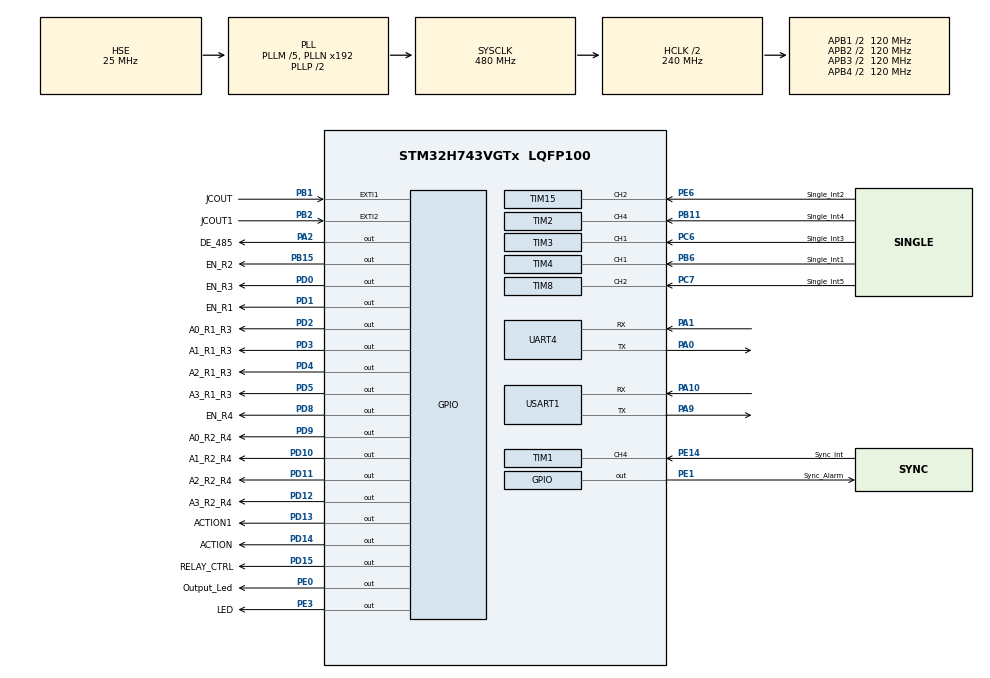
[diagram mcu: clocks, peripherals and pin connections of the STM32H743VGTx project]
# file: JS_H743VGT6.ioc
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CORTEX_M7.default_mode_Activation=1
FREERTOS.CountingSemaphores01=HolesCountingSem,16,Dynamic,NULL,0
FREERTOS.Events01=PositionEvent1_MPC1,Dynamic,NULL;PositionEvent2_MPC1,Dynamic,NULL;PositionEvent3_MPC1,Dynamic,NULL;PositionEvent4_MPC1,Dynamic,NULL;PositionEvent1_MPC2,Dynamic,NULL;PositionEvent2_MPC2,Dynamic,NULL;PositionEvent3_MPC2,Dynamic,NULL;PositionEvent4_MPC2,Dynamic,NULL
FREERTOS.Tasks01=SyncTask,24,128,StartSyncTask,Default,NULL,Dynamic,NULL,NULL;ICTask,25,128,StartICTask,Default,NULL,Dynamic,NULL,NULL;Rec_SwitchTask,25,128,StartRec_SwitchTask,Default,NULL,Dynamic,NULL,NULL;AlarmTask,26,128,StartAlarmTask,Default,NULL,Dynamic,NULL,NULL;Hole_ldentify,27,128,StartHole_ldentifyTask,Default,NULL,Dynamic,NULL,NULL
Mcu.Family=STM32H7
Mcu.Name=STM32H743VGTx
Mcu.Package=LQFP100
NVIC.EXTI1_IRQn=true\:5\:0\:false\:false\:true\:true\:true\:true\:true
NVIC.EXTI2_IRQn=true\:5\:0\:false\:false\:true\:true\:true\:true\:true
NVIC.PriorityGroup=NVIC_PRIORITYGROUP_4
NVIC.TIM15_IRQn=true\:5\:0\:false\:false\:true\:true\:true\:true\:true
NVIC.TIM17_IRQn=true\:15\:0\:false\:false\:true\:false\:false\:true\:true
NVIC.TIM1_CC_IRQn=true\:5\:0\:false\:false\:true\:true\:true\:true\:true
NVIC.TIM1_UP_IRQn=true\:5\:0\:false\:false\:true\:true\:true\:true\:true
NVIC.TIM2_IRQn=true\:5\:0\:false\:false\:true\:true\:true\:true\:true
NVIC.TIM3_IRQn=true\:5\:0\:false\:false\:true\:true\:true\:true\:true
NVIC.TIM4_IRQn=true\:5\:0\:false\:false\:true\:true\:true\:true\:true
NVIC.TIM6_DAC_IRQn=true\:5\:0\:false\:false\:true\:true\:true\:true\:true
NVIC.TIM7_IRQn=true\:5\:0\:false\:false\:true\:true\:true\:true\:true
NVIC.TIM8_CC_IRQn=true\:5\:0\:false\:false\:true\:true\:true\:true\:true
NVIC.TIM8_UP_TIM13_IRQn=true\:5\:0\:false\:false\:true\:true\:true\:true\:true
NVIC.TimeBase=TIM17_IRQn
NVIC.TimeBaseIP=TIM17
NVIC.UART4_IRQn=true\:5\:0\:false\:false\:true\:true\:true\:true\:true
NVIC.USART1_IRQn=true\:5\:0\:false\:false\:true\:true\:true\:true\:true
PA0.Mode=Asynchronous
PA0.Signal=UART4_TX
PA1.Mode=Asynchronous
PA1.Signal=UART4_RX
PA10.Mode=Asynchronous
PA10.Signal=USART1_RX
PA13\ (JTMS/SWDIO).Mode=Serial_Wire
PA13\ (JTMS/SWDIO).Signal=DEBUG_JTMS-SWDIO
PA14\ (JTCK/SWCLK).Mode=Serial_Wire
PA14\ (JTCK/SWCLK).Signal=DEBUG_JTCK-SWCLK
PA2.GPIO_Label=DE_485
PA2.GPIO_Speed=GPIO_SPEED_FREQ_HIGH
PA2.Signal=GPIO_Output
PA9.Mode=Asynchronous
PA9.Signal=USART1_TX
PB1.GPIO_Label=JCOUT
PB1.Signal=GPXTI1
PB11.GPIO_Label=Single_Int4
PB11.GPIO_Speed=GPIO_SPEED_FREQ_HIGH
PB11.Signal=S_TIM2_CH4
PB15.GPIO_Label=EN_R2
PB15.GPIO_ModeDefaultOutputPP=GPIO_MODE_OUTPUT_OD
PB15.GPIO_PuPd=GPIO_NOPULL
PB15.GPIO_Speed=GPIO_SPEED_FREQ_HIGH
PB15.Signal=GPIO_Output
PB2.GPIO_Label=JCOUT1
PB2.Signal=GPXTI2
PB6.GPIO_Label=Single_Int1
PB6.GPIO_Speed=GPIO_SPEED_FREQ_HIGH
PB6.Signal=S_TIM4_CH1
PC6.GPIO_Label=Single_Int3
PC6.GPIO_Speed=GPIO_SPEED_FREQ_HIGH
PC6.Signal=S_TIM3_CH1
PC7.GPIO_Label=Single_Int5
PC7.GPIO_Speed=GPIO_SPEED_FREQ_HIGH
PC7.Signal=S_TIM8_CH2
PD0.GPIO_Label=EN_R3
PD0.GPIO_ModeDefaultOutputPP=GPIO_MODE_OUTPUT_OD
PD0.GPIO_PuPd=GPIO_NOPULL
PD0.GPIO_Speed=GPIO_SPEED_FREQ_HIGH
PD0.Signal=GPIO_Output
PD1.GPIO_Label=EN_R1
PD1.GPIO_ModeDefaultOutputPP=GPIO_MODE_OUTPUT_OD
PD1.GPIO_PuPd=GPIO_NOPULL
PD1.GPIO_Speed=GPIO_SPEED_FREQ_HIGH
PD1.PinState=GPIO_PIN_SET
PD1.Signal=GPIO_Output
PD10.GPIO_Label=A1_R2_R4
PD10.GPIO_ModeDefaultOutputPP=GPIO_MODE_OUTPUT_OD
PD10.GPIO_PuPd=GPIO_NOPULL
PD10.GPIO_Speed=GPIO_SPEED_FREQ_HIGH
PD10.PinState=GPIO_PIN_SET
PD10.Signal=GPIO_Output
PD11.GPIO_Label=A2_R2_R4
PD11.GPIO_ModeDefaultOutputPP=GPIO_MODE_OUTPUT_OD
PD11.GPIO_PuPd=GPIO_NOPULL
PD11.GPIO_Speed=GPIO_SPEED_FREQ_HIGH
PD11.PinState=GPIO_PIN_SET
PD11.Signal=GPIO_Output
PD12.GPIO_Label=A3_R2_R4
PD12.GPIO_ModeDefaultOutputPP=GPIO_MODE_OUTPUT_OD
PD12.GPIO_PuPd=GPIO_NOPULL
PD12.GPIO_Speed=GPIO_SPEED_FREQ_HIGH
PD12.PinState=GPIO_PIN_SET
PD12.Signal=GPIO_Output
PD13.GPIO_Label=ACTION1
PD13.GPIO_ModeDefaultOutputPP=GPIO_MODE_OUTPUT_OD
PD13.GPIO_PuPd=GPIO_NOPULL
PD13.GPIO_Speed=GPIO_SPEED_FREQ_HIGH
PD13.PinState=GPIO_PIN_SET
PD13.Signal=GPIO_Output
PD14.GPIO_Label=ACTION
PD14.GPIO_ModeDefaultOutputPP=GPIO_MODE_OUTPUT_OD
PD14.GPIO_PuPd=GPIO_NOPULL
PD14.GPIO_Speed=GPIO_SPEED_FREQ_HIGH
PD14.PinState=GPIO_PIN_SET
PD14.Signal=GPIO_Output
PD15.GPIO_Label=RELAY_CTRL
PD15.GPIO_ModeDefaultOutputPP=GPIO_MODE_OUTPUT_OD
PD15.GPIO_PuPd=GPIO_NOPULL
PD15.GPIO_Speed=GPIO_SPEED_FREQ_HIGH
PD15.PinState=GPIO_PIN_SET
PD15.Signal=GPIO_Output
PD2.GPIO_Label=A0_R1_R3
PD2.GPIO_ModeDefaultOutputPP=GPIO_MODE_OUTPUT_OD
PD2.GPIO_PuPd=GPIO_NOPULL
PD2.GPIO_Speed=GPIO_SPEED_FREQ_HIGH
PD2.PinState=GPIO_PIN_SET
PD2.Signal=GPIO_Output
PD3.GPIO_Label=A1_R1_R3
PD3.GPIO_ModeDefaultOutputPP=GPIO_MODE_OUTPUT_OD
PD3.GPIO_PuPd=GPIO_NOPULL
PD3.GPIO_Speed=GPIO_SPEED_FREQ_HIGH
PD3.PinState=GPIO_PIN_SET
PD3.Signal=GPIO_Output
PD4.GPIO_Label=A2_R1_R3
PD4.GPIO_ModeDefaultOutputPP=GPIO_MODE_OUTPUT_OD
PD4.GPIO_PuPd=GPIO_NOPULL
PD4.GPIO_Speed=GPIO_SPEED_FREQ_HIGH
PD4.PinState=GPIO_PIN_SET
PD4.Signal=GPIO_Output
PD5.GPIO_Label=A3_R1_R3
PD5.GPIO_ModeDefaultOutputPP=GPIO_MODE_OUTPUT_OD
PD5.GPIO_PuPd=GPIO_NOPULL
PD5.GPIO_Speed=GPIO_SPEED_FREQ_HIGH
PD5.PinState=GPIO_PIN_SET
PD5.Signal=GPIO_Output
PD8.GPIO_Label=EN_R4
PD8.GPIO_ModeDefaultOutputPP=GPIO_MODE_OUTPUT_OD
PD8.GPIO_PuPd=GPIO_NOPULL
PD8.GPIO_Speed=GPIO_SPEED_FREQ_HIGH
PD8.PinState=GPIO_PIN_SET
PD8.Signal=GPIO_Output
PD9.GPIO_Label=A0_R2_R4
PD9.GPIO_ModeDefaultOutputPP=GPIO_MODE_OUTPUT_OD
PD9.GPIO_PuPd=GPIO_NOPULL
PD9.GPIO_Speed=GPIO_SPEED_FREQ_HIGH
PD9.PinState=GPIO_PIN_SET
PD9.Signal=GPIO_Output
PE0.GPIO_Label=Output_Led
PE0.GPIO_ModeDefaultOutputPP=GPIO_MODE_OUTPUT_OD
PE0.GPIO_PuPd=GPIO_NOPULL
PE0.GPIO_Speed=GPIO_SPEED_FREQ_HIGH
PE0.PinState=GPIO_PIN_SET
PE0.Signal=GPIO_Output
PE1.GPIO_Label=Sync_Alarm
PE1.GPIO_ModeDefaultOutputPP=GPIO_MODE_OUTPUT_OD
PE1.GPIO_PuPd=GPIO_NOPULL
PE1.GPIO_Speed=GPIO_SPEED_FREQ_HIGH
PE1.PinState=GPIO_PIN_SET
PE1.Signal=GPIO_Output
PE14.GPIO_Label=Sync_Int
PE14.GPIO_Speed=GPIO_SPEED_FREQ_HIGH
PE14.Signal=S_TIM1_CH4
PE3.GPIO_Label=LED
PE3.GPIO_Speed=GPIO_SPEED_FREQ_HIGH
PE3.PinState=GPIO_PIN_SET
PE3.Signal=GPIO_Output
PE6.GPIO_Label=Single_Int2
PE6.GPIO_Speed=GPIO_SPEED_FREQ_HIGH
PE6.Signal=S_TIM15_CH2
PH0-OSC_IN\ (PH0).Mode=HSE-External-Oscillator
PH0-OSC_IN\ (PH0).Signal=RCC_OSC_IN
PH1-OSC_OUT\ (PH1).Mode=HSE-External-Oscillator
PH1-OSC_OUT\ (PH1).Signal=RCC_OSC_OUT
ProjectManager.HeapSize=0x200
ProjectManager.StackSize=0x400
ProjectManager.TargetToolchain=MDK-ARM V5.32
RCC.ADCFreq_Value=50390625
RCC.APB1Freq_Value=120000000
RCC.APB2Freq_Value=120000000
RCC.APB3Freq_Value=120000000
RCC.APB4Freq_Value=120000000
RCC.CortexFreq_Value=480000000
RCC.D1PPRE=RCC_APB3_DIV2
RCC.D2PPRE1=RCC_APB1_DIV2
RCC.D2PPRE2=RCC_APB2_DIV2
RCC.D3PPRE=RCC_APB4_DIV2
RCC.DIVM1=5
RCC.DIVN1=192
RCC.HCLKFreq_Value=240000000
RCC.HPRE=RCC_HCLK_DIV2
RCC.PLL2FRACN=0
RCC.PLL3FRACN=0
RCC.PLLFRACN=0
RCC.PLLSourceVirtual=RCC_PLLSOURCE_HSE
RCC.SYSCLKFreq_VALUE=480000000
RCC.SYSCLKSource=RCC_SYSCLKSOURCE_PLLCLK
RCC.USBFreq_Value=480000000
SH.S_TIM15_CH2.0=TIM15_CH2,Input_Capture2_from_TI2
SH.S_TIM1_CH4.0=TIM1_CH4,Input_Capture4_from_TI4
SH.S_TIM2_CH4.0=TIM2_CH4,Input_Capture4_from_TI4
SH.S_TIM3_CH1.0=TIM3_CH1,Input_Capture1_from_TI1
SH.S_TIM4_CH1.0=TIM4_CH1,Input_Capture1_from_TI1
SH.S_TIM8_CH2.0=TIM8_CH2,Input_Capture2_from_TI2
TIM1.AutoReloadPreload=TIM_AUTORELOAD_PRELOAD_ENABLE
TIM1.Channel-Input_Capture4_from_TI4=TIM_CHANNEL_4
TIM1.Period=50000-1
TIM1.Prescaler=240-1
TIM15.AutoReloadPreload=TIM_AUTORELOAD_PRELOAD_ENABLE
TIM15.Channel-Input_Capture2_from_TI2=TIM_CHANNEL_2
TIM15.ICPolarity_CH2=TIM_INPUTCHANNELPOLARITY_FALLING
TIM15.Period=50000-1
TIM15.Prescaler=240-1
TIM2.AutoReloadPreload=TIM_AUTORELOAD_PRELOAD_ENABLE
TIM2.Channel-Input_Capture4_from_TI4=TIM_CHANNEL_4
TIM2.Period=50000-1
TIM2.Prescaler=240-1
TIM3.AutoReloadPreload=TIM_AUTORELOAD_PRELOAD_ENABLE
TIM3.Channel-Input_Capture1_from_TI1=TIM_CHANNEL_1
TIM3.Period=50000-1
TIM3.Prescaler=240-1
TIM4.AutoReloadPreload=TIM_AUTORELOAD_PRELOAD_ENABLE
TIM4.Channel-Input_Capture1_from_TI1=TIM_CHANNEL_1
TIM4.Period=50000-1
TIM4.Prescaler=240-1
TIM6.AutoReloadPreload=TIM_AUTORELOAD_PRELOAD_ENABLE
TIM6.Period=10-1
TIM6.Prescaler=240-1
TIM7.AutoReloadPreload=TIM_AUTORELOAD_PRELOAD_ENABLE
TIM7.Period=500-1
TIM7.Prescaler=240-1
TIM8.AutoReloadPreload=TIM_AUTORELOAD_PRELOAD_ENABLE
TIM8.Channel-Input_Capture2_from_TI2=TIM_CHANNEL_2
TIM8.Period=50000-1
TIM8.Prescaler=240-1
USART1.VirtualMode-Asynchronous=VM_ASYNC
VP_FREERTOS_VS_CMSIS_V2.Mode=CMSIS_V2
VP_MEMORYMAP_VS_MEMORYMAP.Mode=CurAppReg
VP_SYS_VS_tim17.Mode=TIM17
VP_TIM15_VS_ClockSourceINT.Mode=Internal
VP_TIM2_VS_ClockSourceINT.Mode=Internal
VP_TIM3_VS_ClockSourceINT.Mode=Internal
VP_TIM4_VS_ClockSourceINT.Mode=Internal
VP_TIM6_VS_ClockSourceINT.Mode=Enable_Timer
VP_TIM7_VS_ClockSourceINT.Mode=Enable_Timer
VP_TIM8_VS_ClockSourceINT.Mode=Internal
board=custom

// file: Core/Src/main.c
/* USER CODE BEGIN Header */
/**
  ******************************************************************************
  * @file           : main.c
  * @brief          : Main program body
  ******************************************************************************
  * @attention
  *
  * Copyright (c) 2024 STMicroelectronics.
  * All rights reserved.
  *
  * This software is licensed under terms that can be found in the LICENSE file
  * in the root directory of this software component.
  * If no LICENSE file comes with this software, it is provided AS-IS.
  *
  ******************************************************************************
  */
/* USER CODE END Header */
#include "main.h"
#include "cmsis_os.h"
#include "memorymap.h"
#include "tim.h"
#include "usart.h"
#include "gpio.h"

void SystemClock_Config(void);
static void MPU_Config(void);
void MX_FREERTOS_Init(void);

int main(void)
{

  /* MPU Configuration--------------------------------------------------------*/
  MPU_Config();

  /* MCU Configuration--------------------------------------------------------*/

  /* Reset of all peripherals, Initializes the Flash interface and the Systick. */
  HAL_Init();

  /* Configure the system clock */
  SystemClock_Config();

  /* Initialize all configured peripherals */
  MX_GPIO_Init();
  MX_TIM2_Init();
  MX_TIM3_Init();
  MX_TIM4_Init();
  MX_TIM8_Init();
  MX_TIM15_Init();
  MX_TIM1_Init();
  MX_UART4_Init();
  MX_TIM6_Init();
  MX_USART1_UART_Init();
  MX_TIM7_Init();

  /* Init scheduler */
  osKernelInitialize();

  /* Call init function for freertos objects (in cmsis_os2.c) */
  MX_FREERTOS_Init();

  /* Start scheduler */
  osKernelStart();

  /* We should never get here as control is now taken by the scheduler */

  /* Infinite loop */
  while (1)
  {

  }
}

void SystemClock_Config(void)
{
  RCC_OscInitTypeDef RCC_OscInitStruct = {0};
  RCC_ClkInitTypeDef RCC_ClkInitStruct = {0};

  /** Supply configuration update enable
  */
  HAL_PWREx_ConfigSupply(PWR_LDO_SUPPLY);

  /** Configure the main internal regulator output voltage
  */
  __HAL_PWR_VOLTAGESCALING_CONFIG(PWR_REGULATOR_VOLTAGE_SCALE1);

  while(!__HAL_PWR_GET_FLAG(PWR_FLAG_VOSRDY)) {}

  __HAL_RCC_SYSCFG_CLK_ENABLE();
  __HAL_PWR_VOLTAGESCALING_CONFIG(PWR_REGULATOR_VOLTAGE_SCALE0);

  while(!__HAL_PWR_GET_FLAG(PWR_FLAG_VOSRDY)) {}

  /** Initializes the RCC Oscillators according to the specified parameters
  * in the RCC_OscInitTypeDef structure.
  */
  RCC_OscInitStruct.OscillatorType = RCC_OSCILLATORTYPE_HSE;
  RCC_OscInitStruct.HSEState = RCC_HSE_ON;
  RCC_OscInitStruct.PLL.PLLState = RCC_PLL_ON;
  RCC_OscInitStruct.PLL.PLLSource = RCC_PLLSOURCE_HSE;
  RCC_OscInitStruct.PLL.PLLM = 5;
  RCC_OscInitStruct.PLL.PLLN = 192;
  RCC_OscInitStruct.PLL.PLLP = 2;
  RCC_OscInitStruct.PLL.PLLQ = 2;
  RCC_OscInitStruct.PLL.PLLR = 2;
  RCC_OscInitStruct.PLL.PLLRGE = RCC_PLL1VCIRANGE_2;
  RCC_OscInitStruct.PLL.PLLVCOSEL = RCC_PLL1VCOWIDE;
  RCC_OscInitStruct.PLL.PLLFRACN = 0;
  if (HAL_RCC_OscConfig(&RCC_OscInitStruct) != HAL_OK)
  {
    Error_Handler();
  }

  /** Initializes the CPU, AHB and APB buses clocks
  */
  RCC_ClkInitStruct.ClockType = RCC_CLOCKTYPE_HCLK|RCC_CLOCKTYPE_SYSCLK
                              |RCC_CLOCKTYPE_PCLK1|RCC_CLOCKTYPE_PCLK2
                              |RCC_CLOCKTYPE_D3PCLK1|RCC_CLOCKTYPE_D1PCLK1;
  RCC_ClkInitStruct.SYSCLKSource = RCC_SYSCLKSOURCE_PLLCLK;
  RCC_ClkInitStruct.SYSCLKDivider = RCC_SYSCLK_DIV1;
  RCC_ClkInitStruct.AHBCLKDivider = RCC_HCLK_DIV2;
  RCC_ClkInitStruct.APB3CLKDivider = RCC_APB3_DIV2;
  RCC_ClkInitStruct.APB1CLKDivider = RCC_APB1_DIV2;
  RCC_ClkInitStruct.APB2CLKDivider = RCC_APB2_DIV2;
  RCC_ClkInitStruct.APB4CLKDivider = RCC_APB4_DIV2;

  if (HAL_RCC_ClockConfig(&RCC_ClkInitStruct, FLASH_LATENCY_4) != HAL_OK)
  {
    Error_Handler();
  }
}

 /* MPU Configuration */

void MPU_Config(void)
{
  MPU_Region_InitTypeDef MPU_InitStruct = {0};

  /* Disables the MPU */
  HAL_MPU_Disable();

  /** Initializes and configures the Region and the memory to be protected
  */
  MPU_InitStruct.Enable = MPU_REGION_ENABLE;
  MPU_InitStruct.Number = MPU_REGION_NUMBER0;
  MPU_InitStruct.BaseAddress = 0x0;
  MPU_InitStruct.Size = MPU_REGION_SIZE_4GB;
  MPU_InitStruct.SubRegionDisable = 0x87;
  MPU_InitStruct.TypeExtField = MPU_TEX_LEVEL0;
  MPU_InitStruct.AccessPermission = MPU_REGION_NO_ACCESS;
  MPU_InitStruct.DisableExec = MPU_INSTRUCTION_ACCESS_DISABLE;
  MPU_InitStruct.IsShareable = MPU_ACCESS_SHAREABLE;
  MPU_InitStruct.IsCacheable = MPU_ACCESS_NOT_CACHEABLE;
  MPU_InitStruct.IsBufferable = MPU_ACCESS_NOT_BUFFERABLE;

  HAL_MPU_ConfigRegion(&MPU_InitStruct);
  /* Enables the MPU */
  HAL_MPU_Enable(MPU_PRIVILEGED_DEFAULT);

}

// void HAL_TIM_PeriodElapsedCallback(TIM_HandleTypeDef *htim)
// {
//   /* USER CODE BEGIN Callback 0 */

//   /* USER CODE END Callback 0 */
//   if (htim->Instance == TIM17) {
//     HAL_IncTick();
//   }
//   /* USER CODE BEGIN Callback 1 */

//   /* USER CODE END Callback 1 */
// }

void Error_Handler(void)
{
  __disable_irq();
  while (1)
  {
  }
}

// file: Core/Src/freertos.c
/* USER CODE BEGIN Header */
/**
 ******************************************************************************
 * File Name          : freertos.c
 * Description        : Code for freertos applications
 ******************************************************************************
 * @attention
 *
 * Copyright (c) 2024 STMicroelectronics.
 * All rights reserved.
 *
 * This software is licensed under terms that can be found in the LICENSE file
 * in the root directory of this software component.
 * If no LICENSE file comes with this software, it is provided AS-IS.
 *
 ******************************************************************************
 */
/* USER CODE END Header */

#include "FreeRTOS.h"
#include "task.h"
#include "main.h"
#include "cmsis_os.h"

/* USER CODE BEGIN Includes */
#include "tim.h"
#include "gpio.h"
#include "limits.h"
#include "usart.h"
#include "stdio.h"
#include "semphr.h"
#include "portmacro.h"
#include "event_groups.h"

extern uint32_t Sync_capture_Buf[2]; // 存放计数值
extern uint8_t Sync_Cnt;             // 状态标志位
extern uint32_t Sync_high_time;      // 高电平时间

uint16_t semavalue = 0;

uint8_t Isfirstcirculation = 1;

int32_t position_old[4] = {0};
int32_t position_xor[4] = {0};

uint8_t position_num=0;
/* USER CODE END Includes */

/* Definitions for SyncTask */
osThreadId_t SyncTaskHandle;
const osThreadAttr_t SyncTask_attributes = {
  .name = "SyncTask",
  .stack_size = 128 * 4,
  .priority = (osPriority_t) osPriorityNormal,
};
/* Definitions for ICTask */
osThreadId_t ICTaskHandle;
const osThreadAttr_t ICTask_attributes = {
  .name = "ICTask",
  .stack_size = 128 * 4,
  .priority = (osPriority_t) osPriorityNormal1,
};
/* Definitions for Rec_SwitchTask */
osThreadId_t Rec_SwitchTaskHandle;
const osThreadAttr_t Rec_SwitchTask_attributes = {
  .name = "Rec_SwitchTask",
  .stack_size = 128 * 4,
  .priority = (osPriority_t) osPriorityNormal1,
};
/* Definitions for AlarmTask */
osThreadId_t AlarmTaskHandle;
const osThreadAttr_t AlarmTask_attributes = {
  .name = "AlarmTask",
  .stack_size = 128 * 4,
  .priority = (osPriority_t) osPriorityNormal2,
};
/* Definitions for Hole_ldentify */
osThreadId_t Hole_ldentifyHandle;
const osThreadAttr_t Hole_ldentify_attributes = {
  .name = "Hole_ldentify",
  .stack_size = 128 * 4,
  .priority = (osPriority_t) osPriorityNormal3,
};
/* Definitions for HolesCountingSem */
osSemaphoreId_t HolesCountingSemHandle;
const osSemaphoreAttr_t HolesCountingSem_attributes = {
  .name = "HolesCountingSem"
};
/* Definitions for PositionEvent1_MPC1 */
osEventFlagsId_t PositionEvent1_MPC1Handle;
const osEventFlagsAttr_t PositionEvent1_MPC1_attributes = {
  .name = "PositionEvent1_MPC1"
};
/* Definitions for PositionEvent2_MPC1 */
osEventFlagsId_t PositionEvent2_MPC1Handle;
const osEventFlagsAttr_t PositionEvent2_MPC1_attributes = {
  .name = "PositionEvent2_MPC1"
};
/* Definitions for PositionEvent3_MPC1 */
osEventFlagsId_t PositionEvent3_MPC1Handle;
const osEventFlagsAttr_t PositionEvent3_MPC1_attributes = {
  .name = "PositionEvent3_MPC1"
};
/* Definitions for PositionEvent4_MPC1 */
osEventFlagsId_t PositionEvent4_MPC1Handle;
const osEventFlagsAttr_t PositionEvent4_MPC1_attributes = {
  .name = "PositionEvent4_MPC1"
};
/* Definitions for PositionEvent1_MPC2 */
osEventFlagsId_t PositionEvent1_MPC2Handle;
const osEventFlagsAttr_t PositionEvent1_MPC2_attributes = {
  .name = "PositionEvent1_MPC2"
};
/* Definitions for PositionEvent2_MPC2 */
osEventFlagsId_t PositionEvent2_MPC2Handle;
const osEventFlagsAttr_t PositionEvent2_MPC2_attributes = {
  .name = "PositionEvent2_MPC2"
};
/* Definitions for PositionEvent3_MPC2 */
osEventFlagsId_t PositionEvent3_MPC2Handle;
const osEventFlagsAttr_t PositionEvent3_MPC2_attributes = {
  .name = "PositionEvent3_MPC2"
};
/* Definitions for PositionEvent4_MPC2 */
osEventFlagsId_t PositionEvent4_MPC2Handle;
const osEventFlagsAttr_t PositionEvent4_MPC2_attributes = {
  .name = "PositionEvent4_MPC2"
};

void StartSyncTask(void *argument);
void StartICTask(void *argument);
void StartRec_SwitchTask(void *argument);
void StartAlarmTask(void *argument);
void StartHole_ldentifyTask(void *argument);

void MX_FREERTOS_Init(void); /* (MISRA C 2004 rule 8.1) */

void MX_FREERTOS_Init(void) {

  /* Create the semaphores(s) */
  /* creation of HolesCountingSem */
  HolesCountingSemHandle = osSemaphoreNew(16, 0, &HolesCountingSem_attributes);

  /* Create the thread(s) */
  /* creation of SyncTask */
  SyncTaskHandle = osThreadNew(StartSyncTask, NULL, &SyncTask_attributes);

  /* creation of ICTask */
  ICTaskHandle = osThreadNew(StartICTask, NULL, &ICTask_attributes);

  /* creation of Rec_SwitchTask */
  Rec_SwitchTaskHandle = osThreadNew(StartRec_SwitchTask, NULL, &Rec_SwitchTask_attributes);

  /* creation of AlarmTask */
  AlarmTaskHandle = osThreadNew(StartAlarmTask, NULL, &AlarmTask_attributes);

  /* creation of Hole_ldentify */
  Hole_ldentifyHandle = osThreadNew(StartHole_ldentifyTask, NULL, &Hole_ldentify_attributes);

  /* Create the event(s) */
  /* creation of PositionEvent1_MPC1 */
  PositionEvent1_MPC1Handle = osEventFlagsNew(&PositionEvent1_MPC1_attributes);

  /* creation of PositionEvent2_MPC1 */
  PositionEvent2_MPC1Handle = osEventFlagsNew(&PositionEvent2_MPC1_attributes);

  /* creation of PositionEvent3_MPC1 */
  PositionEvent3_MPC1Handle = osEventFlagsNew(&PositionEvent3_MPC1_attributes);

  /* creation of PositionEvent4_MPC1 */
  PositionEvent4_MPC1Handle = osEventFlagsNew(&PositionEvent4_MPC1_attributes);

  /* creation of PositionEvent1_MPC2 */
  PositionEvent1_MPC2Handle = osEventFlagsNew(&PositionEvent1_MPC2_attributes);

  /* creation of PositionEvent2_MPC2 */
  PositionEvent2_MPC2Handle = osEventFlagsNew(&PositionEvent2_MPC2_attributes);

  /* creation of PositionEvent3_MPC2 */
  PositionEvent3_MPC2Handle = osEventFlagsNew(&PositionEvent3_MPC2_attributes);

  /* creation of PositionEvent4_MPC2 */
  PositionEvent4_MPC2Handle = osEventFlagsNew(&PositionEvent4_MPC2_attributes);

}

void StartSyncTask(void *argument)
{
  /* USER CODE BEGIN StartSyncTask */
  /* Infinite loop */
  for (;;)
  {
    switch (Sync_Cnt)
    {
    case 0:
      Sync_Cnt++;
      TIM_RESET_CAPTUREPOLARITY(&htim1, TIM_CHANNEL_4);
      __HAL_TIM_SET_CAPTUREPOLARITY(&htim1, TIM_CHANNEL_4, TIM_INPUTCHANNELPOLARITY_RISING);
      HAL_TIM_IC_Start_IT(&htim1, TIM_CHANNEL_4); // 启动输入捕获       或者: __HAL_TIM_ENABLE(&htim5);
      break;
    case 3:
      if (Sync_capture_Buf[1] < Sync_capture_Buf[0])
      {                                                                       // 不存在先捕获高电平后捕获低电平capture_Buf[1]<capture_Buf[0],肯定是有了溢出
        Sync_high_time = 0x186A0 + Sync_capture_Buf[1] - Sync_capture_Buf[0]; // 100000    0x186A0
      }
      else
      {
        Sync_high_time = Sync_capture_Buf[1] - Sync_capture_Buf[0]; // 高电平时间
      }

     // Sync_Cnt = 0;
      if (Sync_high_time == 0x1B)
      {
        Sync_Cnt = 5;
        xTaskNotifyGive((TaskHandle_t)ICTaskHandle);
        xTaskNotifyGive((TaskHandle_t)Rec_SwitchTaskHandle);
      }
      else
      {
        Sync_Cnt = 0;
      }
    }
    osDelay(1);
  }
  /* USER CODE END StartSyncTask */
}

void StartICTask(void *argument)
{
  /* USER CODE BEGIN StartICTask */
  BaseType_t ret;

  /* Infinite loop */
  for (;;)
  {
    ret = ulTaskNotifyTake(pdFALSE, 0);
    if (ret == pdPASS)
    {
      // LXXX:按照所查资料提示，如果不行那就还是将同步引脚更改为其他引脚，TIM2作为主定时器通过事件触发从定时器同步捕获，硬件层面的同步捕获
//      HAL_TIM_IC_Start_IT(&htim4, TIM_CHANNEL_1);
//      HAL_TIM_IC_Start_IT(&htim15, TIM_CHANNEL_2);
//      HAL_TIM_IC_Start_IT(&htim3, TIM_CHANNEL_1);
//      HAL_TIM_IC_Start_IT(&htim2, TIM_CHANNEL_4);
    }
    else
    {
      printf("StartICTask任务通知获取失败\r\n");
    }
    osDelay(1);
  }
  /* USER CODE END StartICTask */
}

void StartRec_SwitchTask(void *argument)
{
  /* USER CODE BEGIN StartRec_SwitchTask */
  BaseType_t ret;
  /* Infinite loop */
  for (;;)
  {

#if 1
    ret = ulTaskNotifyTake(pdFALSE, 0);
#endif
    if (ret == pdPASS)
    {
      EN_R1_R2_open();
      HAL_TIM_Base_Start_IT(&htim6); // start timer for R1_channel switch
    }
    else
    {
      printf("StartRec_switchTask任务通知获取失败\r\n");
    }
    osDelay(1);
  }
  /* USER CODE END StartRec_SwitchTask */
}

void StartAlarmTask(void *argument)
{
  /* USER CODE BEGIN StartAlarmTask */
  BaseType_t ret;
  TickType_t xLastWakeTime;

  uint16_t semavaluefromslave = 0;

  // 初始化xLastWakeTime为当前的tick计数
  xLastWakeTime = xTaskGetTickCount();
  /* Infinite loop */
  for (;;)
  {

    ret = ulTaskNotifyTake(pdFALSE, 0);
    if (ret == pdPASS)
    {
      for (int j = 0; j < 32; j++)
      {
        while (((position_xor[position_num] >> j) & 1) == 1)
        {
          semavalue++;
        }
      }
    }
    semavaluefromslave = uxSemaphoreGetCount(HolesCountingSemHandle); // Get number of semaphores
    xSemaphoreTake(HolesCountingSemHandle, pdMS_TO_TICKS(10));        // 减一
    semavalue += semavaluefromslave;
    semavaluefromslave = 0;
    if (semavalue > 0)
    {
      semavalue--;
      Holes_output_alarm_Open();
      vTaskDelayUntil(&xLastWakeTime, pdMS_TO_TICKS(500));
      Holes_output_alarm_Close();
    }

    osDelay(1);
  }
  /* USER CODE END StartAlarmTask */
}

void StartHole_ldentifyTask(void *argument)
{
  /* USER CODE BEGIN StartHole_ldentifyTask */
  BaseType_t ret;
  int32_t position_new[4] = {0};

  int32_t position_new_plus_old[4] = {0};
  EventGroupHandle_t eventHandles[] = {
      PositionEvent1_MPC1Handle, PositionEvent1_MPC2Handle,
      PositionEvent2_MPC1Handle, PositionEvent2_MPC2Handle,
      PositionEvent3_MPC1Handle, PositionEvent3_MPC2Handle,
      PositionEvent4_MPC1Handle, PositionEvent4_MPC2Handle};
  /* Infinite loop */
  for(;;)
  {
    ret = ulTaskNotifyTake(pdFALSE, 0);
    if (ret == pdPASS)

    {
      if (Isfirstcirculation) // 上电第一次循环
      {
        for (position_num = 0; position_num < 4; position_num++)
        {
          position_old[position_num] = (osEventFlagsGet(eventHandles[position_num * 2 + 1]) & 0xFFFF);
          position_old[position_num] |= (osEventFlagsGet(eventHandles[position_num * 2]) & 0xFFFF) << 16;
        }
        Isfirstcirculation = 0;
      }
      else
      {
        // 更新position_new并计算
        for (position_num = 0; position_num < 4; position_num++)
        {
          // 获取新值
          position_new[position_num] = (osEventFlagsGet(eventHandles[position_num * 2 + 1]) & 0xFFFF);
          position_new[position_num] |= (osEventFlagsGet(eventHandles[position_num * 2]) & 0xFFFF) << 16;

          // 计算异或和差值
          position_xor[position_num] = position_old[position_num] ^ position_new[position_num];
          position_new_plus_old[position_num] = position_new[position_num] - position_old[position_num];
         // 条件检查和通知
          if (position_xor[position_num] != 0 && position_new_plus_old[position_num] > 0 && xTaskGetSchedulerState() != taskSCHEDULER_NOT_STARTED)
          {
            xTaskNotifyGive(AlarmTaskHandle);
          }

          // 更新old值
          position_old[position_num] = position_new[position_num];
        }

        // 清除所有标志位，以便新的一轮置位
        for (position_num = 0; position_num < 8; position_num++)
        {
          xEventGroupClearBits(eventHandles[position_num], 0xFFFF);
        }
      }
    }
    osDelay(1);
  }
  /* USER CODE END StartHole_ldentifyTask */
}

/* USER CODE BEGIN Application */
//LTODO：添加JCOUT任务，是否由外部中断加上计数信号量来添加孔洞个数

//LTODO:添加JCOUT，JCOUT1暂不添加
void HAL_GPIO_EXTI_Callback(uint16_t GPIO_Pin)
{
  BaseType_t xHigherPriorityTaskWoken = pdFALSE;
  if (GPIO_Pin == GPIO_PIN_1)
  {

    if (xTaskGetSchedulerState() != taskSCHEDULER_NOT_STARTED)
    {
      xSemaphoreGiveFromISR(HolesCountingSemHandle, &xHigherPriorityTaskWoken);
      portYIELD_FROM_ISR(xHigherPriorityTaskWoken);
    }
  }

}
/* USER CODE END Application */
